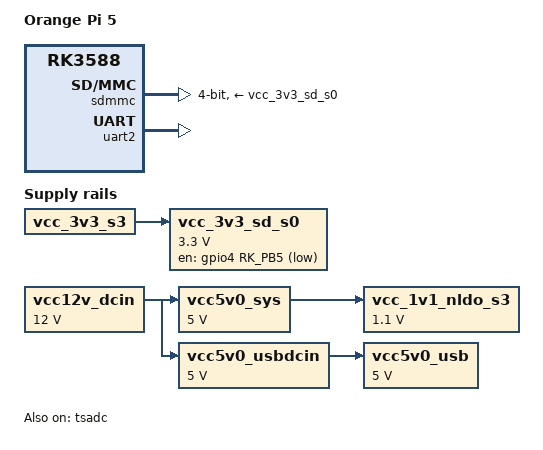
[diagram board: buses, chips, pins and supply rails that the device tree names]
// SPDX-License-Identifier: (GPL-2.0+ OR MIT)

/dts-v1/;

#include <dt-bindings/pinctrl/rockchip.h>
#include <dt-bindings/gpio/gpio.h>
#include "rk3588s.dtsi"
#include "rk3588s-rk806-single.dtsi"

/ {
	model = "Orange Pi 5";
	compatible = "rockchip,rk3588s-orange-pi-5", "rockchip,rk3588";
		
	chosen {
		stdout-path = "serial2:1500000n8";
	};
	
	vcc12v_dcin: vcc12v-dcin {
		compatible = "regulator-fixed";
		regulator-name = "vcc12v_dcin";
		regulator-always-on;
		regulator-boot-on;
		regulator-min-microvolt = <12000000>;
		regulator-max-microvolt = <12000000>;
	};

	vcc5v0_sys: vcc5v0-sys {
		compatible = "regulator-fixed";
		regulator-name = "vcc5v0_sys";
		regulator-always-on;
		regulator-boot-on;
		regulator-min-microvolt = <5000000>;
		regulator-max-microvolt = <5000000>;
		vin-supply = <&vcc12v_dcin>;
	};

	vcc5v0_usbdcin: vcc5v0-usbdcin {
		compatible = "regulator-fixed";
		regulator-name = "vcc5v0_usbdcin";
		regulator-always-on;
		regulator-boot-on;
		regulator-min-microvolt = <5000000>;
		regulator-max-microvolt = <5000000>;
		vin-supply = <&vcc12v_dcin>;
	};

	vcc5v0_usb: vcc5v0-usb {
		compatible = "regulator-fixed";
		regulator-name = "vcc5v0_usb";
		regulator-always-on;
		regulator-boot-on;
		regulator-min-microvolt = <5000000>;
		regulator-max-microvolt = <5000000>;
		vin-supply = <&vcc5v0_usbdcin>;
	};
	
	vcc_3v3_sd_s0: vcc-3v3-sd-s0 {
		compatible = "regulator-fixed";
		regulator-name = "vcc_3v3_sd_s0";
		regulator-min-microvolt = <3300000>;
		regulator-max-microvolt = <3300000>;
		gpios = <&gpio4 RK_PB5 GPIO_ACTIVE_LOW>;
		enable-active-low;
		vin-supply = <&vcc_3v3_s3>;
		regulator-always-on;
		regulator-boot-on;
		regulator-state-mem {
			regulator-on-in-suspend;
		};
	};

	vcc_1v1_nldo_s3: vcc-1v1-nldo-s3 {
		compatible = "regulator-fixed";
		regulator-name = "vcc_1v1_nldo_s3";
		regulator-always-on;
		regulator-boot-on;
		regulator-min-microvolt = <1100000>;
		regulator-max-microvolt = <1100000>;
		vin-supply = <&vcc5v0_sys>;
	};
	
//		vbus5v0_typec: vbus5v0-typec {
//		compatible = "regulator-fixed";
//		regulator-name = "vbus5v0_typec";
//		regulator-min-microvolt = <5000000>;
//		regulator-max-microvolt = <5000000>;
//		enable-active-high;
//		gpio = <&gpio3 RK_PC0 GPIO_ACTIVE_HIGH>;
//		vin-supply = <&vcc5v0_usb>;
//		pinctrl-names = "default";
//		pinctrl-0 = <&typec5v_pwren>;
//	};

//	vcc3v3_pcie2x1l2: vcc3v3-pcie2x1l2 {
//		compatible = "regulator-fixed";
//		regulator-name = "vcc3v3_pcie2x1l2";
//		regulator-min-microvolt = <1800000>;
//		regulator-max-microvolt = <1800000>;
//		enable-active-high;
//		regulator-boot-on;
//		regulator-always-on;
//		gpios = <&gpio0 RK_PC5 GPIO_ACTIVE_HIGH>;
//		startup-delay-us = <50000>;
//		vin-supply = <&vcc5v0_sys>;
//	};
};

&cpu_l0 {
	cpu-supply = <&vdd_cpu_lit_s0>;
	mem-supply = <&vdd_cpu_lit_s0>;
};

&cpu_b0 {
	cpu-supply = <&vdd_cpu_big0_s0>;
	mem-supply = <&vdd_cpu_big0_mem_s0>;
	status = "disabled";
};

&cpu_b2 {
	cpu-supply = <&vdd_cpu_big1_s0>;
	mem-supply = <&vdd_cpu_big1_mem_s0>;
	status = "disabled";
};

&i2c0 {
	status = "disabled";
	pinctrl-names = "default";
	pinctrl-0 = <&i2c0m2_xfer>;

	vdd_cpu_big0_s0: vdd_cpu_big0_mem_s0: rk8602@42 {
		compatible = "rockchip,rk8602";
		reg = <0x42>;
		vin-supply = <&vcc5v0_sys>;
		regulator-compatible = "rk860x-reg";
		regulator-name = "vdd_cpu_big0_s0";
		regulator-min-microvolt = <550000>;
		regulator-max-microvolt = <1050000>;
		regulator-ramp-delay = <2300>;
		rockchip,suspend-voltage-selector = <1>;
		regulator-boot-on;
		regulator-always-on;
		regulator-state-mem {
			regulator-off-in-suspend;
		};
	};

	vdd_cpu_big1_s0: vdd_cpu_big1_mem_s0: rk8603@43 {
		compatible = "rockchip,rk8603";
		reg = <0x43>;
		vin-supply = <&vcc5v0_sys>;
		regulator-compatible = "rk860x-reg";
		regulator-name = "vdd_cpu_big1_s0";
		regulator-min-microvolt = <550000>;
		regulator-max-microvolt = <1050000>;
		regulator-ramp-delay = <2300>;
		rockchip,suspend-voltage-selector = <1>;
		regulator-boot-on;
		regulator-always-on;
		regulator-state-mem {
			regulator-off-in-suspend;
		};
	};
};

&i2c2 {
	status = "disabled";

	vdd_npu_mem_s0: rk8602@42 {
		compatible = "rockchip,rk8602";
		reg = <0x42>;
		vin-supply = <&vcc5v0_sys>;
		regulator-compatible = "rk860x-reg";
		regulator-name = "vdd_npu_s0";
		regulator-min-microvolt = <550000>;
		regulator-max-microvolt = <950000>;
		regulator-ramp-delay = <2300>;
		rockchip,suspend-voltage-selector = <1>;
		regulator-boot-on;
		regulator-always-on;
		regulator-state-mem {
			regulator-off-in-suspend;
		};
	};
};

&sdhci {
	bus-width = <8>;
	no-sdio;
	no-sd;
	non-removable;
	max-frequency = <200000000>;
	mmc-hs400-1_8v;
	mmc-hs400-enhanced-strobe;
	status = "disabled";
};

&sdmmc {
	max-frequency = <150000000>;
	no-sdio;
	no-mmc;
	bus-width = <4>;
	cap-mmc-highspeed;
	cap-sd-highspeed;
	disable-wp;
	sd-uhs-sdr104;
	vmmc-supply = <&vcc_3v3_sd_s0>;
	vqmmc-supply = <&vccio_sd_s0>;
	status = "okay";
};

&uart2 {
	pinctrl-names = "default";
	pinctrl-0 = <&uart2m0_xfer>;
	status = "okay";
};

&tsadc {
	status = "okay";
};
